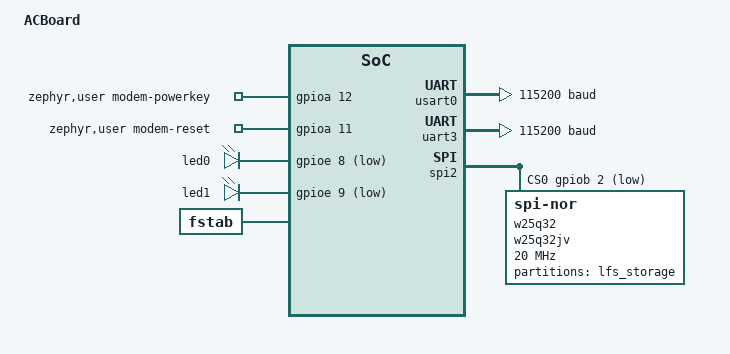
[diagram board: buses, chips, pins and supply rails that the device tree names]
/*
 * Copyright (c) 2026
 * SPDX-License-Identifier: Apache-2.0
 */

/dts-v1/;

#include <arm/gd/gd32e50x/gd32e513xe.dtsi>
#include "acboard-pinctrl.dtsi"

/ {
	model = "ACBoard";
	compatible = "gd,acboard";

	zephyr,user {
		modem-powerkey-gpios = <&gpioa 12 GPIO_ACTIVE_HIGH>;
		modem-reset-gpios = <&gpioa 11 GPIO_ACTIVE_HIGH>;
		modem-reset-pulse-ms = <200>;
	};

	chosen {
		zephyr,sram = &sram0;
		zephyr,flash = &flash0;
		zephyr,console = &uart3;
		zephyr,shell-uart = &uart3;
		zephyr,modem-uart = &usart0;
		zephyr,flash-controller = &fmc;
	};

	leds {
		compatible = "gpio-leds";

		led0: led_0 {
			gpios = <&gpioe 8 GPIO_ACTIVE_LOW>;
		};

		led1: led_1 {
			gpios = <&gpioe 9 GPIO_ACTIVE_LOW>;
		};
	};

	aliases {
		led0 = &led0;
		led1 = &led1;
		modem-uart = &usart0;
	};

	fstab {
		compatible = "zephyr,fstab";
		lfs1: lfs1 {
			compatible = "zephyr,fstab,littlefs";
			mount-point = "/lfs1";
			partition = <&lfs_part>;
			automount;
			read-size = <256>;
			prog-size = <256>;
			cache-size = <256>;
			lookahead-size = <128>;
			block-cycles = <512>;
		};
	};
};

&gpioa {
	status = "okay";
};

&gpiob {
	status = "okay";
};

&gpioc {
	status = "okay";
};

&gpioe {
	status = "okay";
};

&dma0 {
	status = "okay";
};

&usart0 {
	status = "okay";
	current-speed = <115200>;
	pinctrl-0 = <&usart0_default>;
	pinctrl-names = "default";
	dmas = <&dma0 4 0>, <&dma0 3 0>;
	dma-names = "rx", "tx";
};

&uart3 {
	status = "okay";
	current-speed = <115200>;
	pinctrl-0 = <&uart3_default>;
	pinctrl-names = "default";
};

&spi2 {
	status = "okay";
	cs-gpios = <&gpiob 2 GPIO_ACTIVE_LOW>;
	pinctrl-0 = <&spi2_default>;
	pinctrl-names = "default";

	w25q32: w25q32jv@0 {
		compatible = "jedec,spi-nor";
		reg = <0>;
		spi-max-frequency = <20000000>;
		jedec-id = [c8 40 16];
		size = <33554432>;  /* 32 Mbit = 4 MB, GD25Q32 */
	};
};

&w25q32 {
	partitions {
		compatible = "fixed-partitions";
		#address-cells = <1>;
		#size-cells = <1>;
		lfs_part: partition@0 {
			label = "lfs_storage";
			reg = <0x00000000 0x00400000>;  /* 4MB full chip */
		};
	};
};
